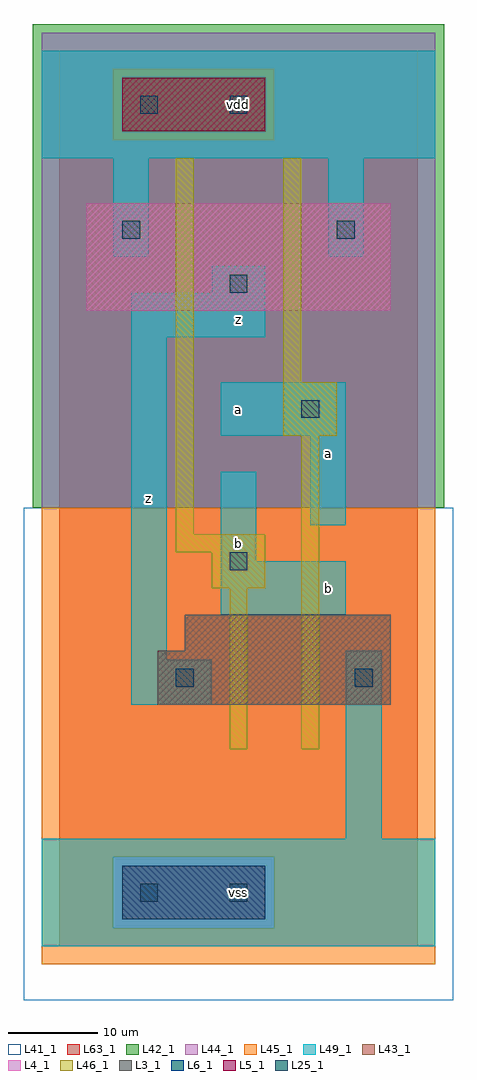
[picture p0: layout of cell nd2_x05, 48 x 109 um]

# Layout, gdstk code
import gdstk
lib = gdstk.Library(unit=1e-6, precision=1e-09)
def R(c, l, rs):  # rectangles x0, y0, x1, y1
    for r in rs: c.add(gdstk.rectangle(r[:2], r[2:], *l))
L3_1 = (3, 1)
L4_1 = (4, 1)
L5_1 = (5, 1)
L6_1 = (6, 1)
L25_1 = (25, 1)
L41_1 = (41, 1)
L42_1 = (42, 1)
L43_1 = (43, 1)
L44_1 = (44, 1)
L45_1 = (45, 1)
L46_1 = (46, 1)
L49_1 = (49, 1)
L63_1 = (63, 1)

nd2_x05 = lib.new_cell('nd2_x05')
R(nd2_x05, L3_1, [(11,27,37,33), (14,33,37,37)])
R(nd2_x05, L4_1, [(3,71,37,83)])
R(nd2_x05, L5_1, [(7,91,23,97)])
R(nd2_x05, L6_1, [(7,3,23,9)])
R(nd2_x05, L25_1, [(9,5,11,7), (19,5,21,7), (13,29,15,31), (33,29,35,31), (19,42,21,44), (27,59,29,61), (19,73,21,75), (7,79,9,81), (31,79,33,81), (9,93,11,95), (19,93,21,95)])
R(nd2_x05, L41_1, [(-4,-6,44,49), (-3,-3,43,49)])
R(nd2_x05, L42_1, [(-3,49,43,103)])
R(nd2_x05, L43_1, [(7,3,23,9), (11,27,37,33), (14,33,37,37), (3,71,37,83), (7,91,23,97)])
R(nd2_x05, L44_1, [(6,2,24,10), (-2,49,42,90), (-2,90,6,98), (24,90,42,98), (-2,98,42,102)])
R(nd2_x05, L45_1, [(-2,-2,42,2), (-2,2,6,10), (24,2,42,10), (-2,10,42,49), (6,90,24,98)])
R(nd2_x05, L46_1, [(19,22,21,40), (27,22,29,57), (17,40,23,44), (13,44,23,46), (13,46,15,88), (25,57,31,63), (25,63,27,88)])
R(nd2_x05, L49_1, [(-2,0,42,12), (32,12,36,33), (8,27,17,32), (8,32,12,68), (18,37,32,43), (18,43,22,53), (28,47,32,57), (18,57,32,63), (8,68,23,73), (17,73,23,76), (6,77,10,88), (30,77,34,88), (-2,88,42,100)])
R(nd2_x05, L63_1, [(0,0,40,100)])
nd2_x05.add(gdstk.Label('z', (10,50), layer=49, texttype=1))
nd2_x05.add(gdstk.Label('z', (10,50), layer=49, texttype=1))
nd2_x05.add(gdstk.Label('vss', (20,6), layer=49, texttype=1))
nd2_x05.add(gdstk.Label('vss', (20,6), layer=49, texttype=1))
nd2_x05.add(gdstk.Label('b', (20,45), layer=49, texttype=1))
nd2_x05.add(gdstk.Label('b', (20,45), layer=49, texttype=1))
nd2_x05.add(gdstk.Label('a', (20,60), layer=49, texttype=1))
nd2_x05.add(gdstk.Label('z', (20,70), layer=49, texttype=1))
nd2_x05.add(gdstk.Label('a', (20,60), layer=49, texttype=1))
nd2_x05.add(gdstk.Label('z', (20,70), layer=49, texttype=1))
nd2_x05.add(gdstk.Label('vdd', (20,94), layer=49, texttype=1))
nd2_x05.add(gdstk.Label('vdd', (20,94), layer=49, texttype=1))
nd2_x05.add(gdstk.Label('b', (30,40), layer=49, texttype=1))
nd2_x05.add(gdstk.Label('b', (30,40), layer=49, texttype=1))
nd2_x05.add(gdstk.Label('a', (30,55), layer=49, texttype=1))
nd2_x05.add(gdstk.Label('a', (30,55), layer=49, texttype=1))

lib.write_gds('nd2_x05.gds')
